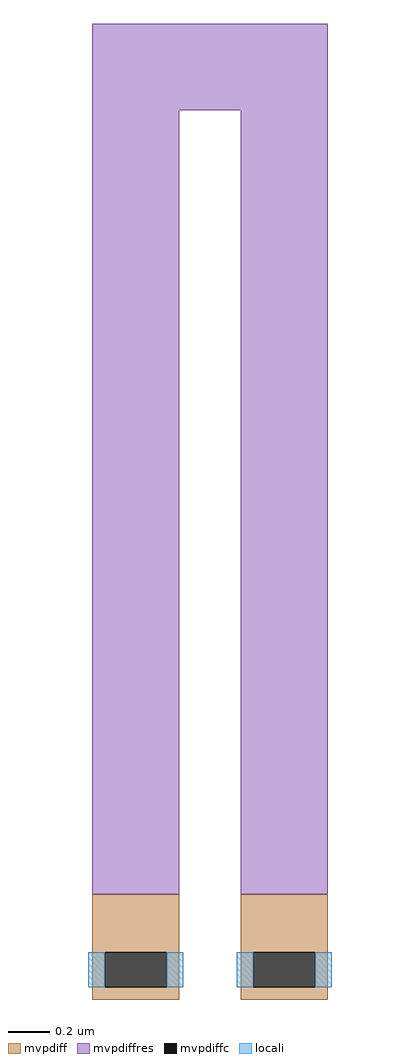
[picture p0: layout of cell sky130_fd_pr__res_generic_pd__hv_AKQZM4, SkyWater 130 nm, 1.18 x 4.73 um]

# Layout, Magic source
magic
tech sky130A
<< mvpdiff >>
rect -57 -213 -15 -185
rect -57 -230 -51 -213
rect -21 -230 -15 -213
rect -57 -236 -15 -230
rect 15 -213 57 -185
rect 15 -230 21 -213
rect 51 -230 57 -213
rect 15 -236 57 -230
<< mvpdiffc >>
rect -51 -230 -21 -213
rect 21 -230 51 -213
<< mvpdiffres >>
rect -57 195 57 237
rect -57 -185 -15 195
rect 15 -185 57 195
<< locali >>
rect -59 -230 -51 -213
rect -21 -230 -13 -213
rect 13 -230 21 -213
rect 51 -230 59 -213
<< properties >>
string gencell sky130_fd_pr__res_generic_pd__hv
string library sky130
string parameters w 0.42 l 4.0 m 1 nx 2 wmin 0.42 lmin 2.10 rho 197 val 4.432k dummy 0 dw 0.02 term 0.0 sterm 0.0 caplen 0.60 snake 1 guard 0 glc 1 grc 1 gtc 1 gbc 1 roverlap 0 endcov 100 full_metal 1 vias 1 viagb 0 viagt 0 viagl 0 viagr 0
<< end >>
